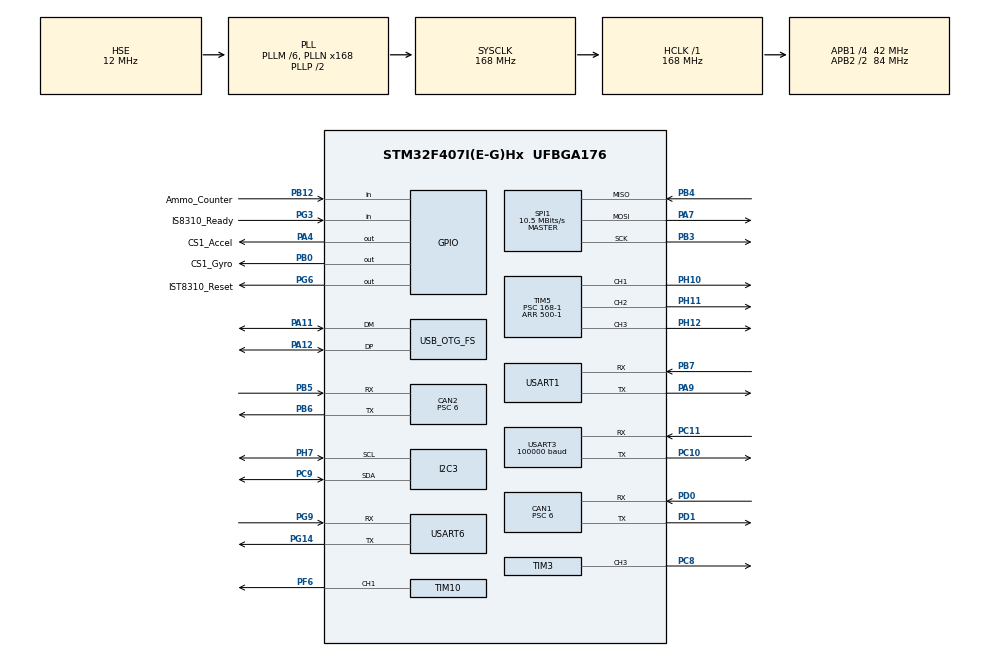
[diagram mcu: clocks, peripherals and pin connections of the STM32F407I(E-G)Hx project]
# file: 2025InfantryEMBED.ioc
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CAN1.ABOM=ENABLE
CAN1.BS1=CAN_BS1_4TQ
CAN1.BS2=CAN_BS2_2TQ
CAN1.CalculateBaudRate=1000000
CAN1.CalculateTimeBit=1000
CAN1.CalculateTimeQuantum=142.85714285714286
CAN1.Prescaler=6
CAN2.ABOM=ENABLE
CAN2.BS1=CAN_BS1_4TQ
CAN2.BS2=CAN_BS2_2TQ
CAN2.CalculateBaudRate=1000000
CAN2.CalculateTimeBit=1000
CAN2.CalculateTimeQuantum=142.85714285714286
CAN2.Prescaler=6
Dma.Request0=USART3_RX
Dma.Request1=USART1_RX
Dma.Request2=USART6_RX
Dma.Request3=USART6_TX
Dma.USART1_RX.1.Direction=DMA_PERIPH_TO_MEMORY
Dma.USART1_RX.1.FIFOMode=DMA_FIFOMODE_DISABLE
Dma.USART1_RX.1.Instance=DMA2_Stream2
Dma.USART1_RX.1.MemDataAlignment=DMA_MDATAALIGN_BYTE
Dma.USART1_RX.1.MemInc=DMA_MINC_ENABLE
Dma.USART1_RX.1.Mode=DMA_CIRCULAR
Dma.USART1_RX.1.PeriphDataAlignment=DMA_PDATAALIGN_BYTE
Dma.USART1_RX.1.PeriphInc=DMA_PINC_DISABLE
Dma.USART1_RX.1.Priority=DMA_PRIORITY_VERY_HIGH
Dma.USART3_RX.0.Direction=DMA_PERIPH_TO_MEMORY
Dma.USART3_RX.0.FIFOMode=DMA_FIFOMODE_DISABLE
Dma.USART3_RX.0.Instance=DMA1_Stream1
Dma.USART3_RX.0.MemDataAlignment=DMA_MDATAALIGN_BYTE
Dma.USART3_RX.0.MemInc=DMA_MINC_ENABLE
Dma.USART3_RX.0.Mode=DMA_NORMAL
Dma.USART3_RX.0.PeriphDataAlignment=DMA_PDATAALIGN_BYTE
Dma.USART3_RX.0.PeriphInc=DMA_PINC_DISABLE
Dma.USART3_RX.0.Priority=DMA_PRIORITY_VERY_HIGH
Dma.USART6_RX.2.Direction=DMA_PERIPH_TO_MEMORY
Dma.USART6_RX.2.FIFOMode=DMA_FIFOMODE_DISABLE
Dma.USART6_RX.2.Instance=DMA2_Stream1
Dma.USART6_RX.2.MemDataAlignment=DMA_MDATAALIGN_BYTE
Dma.USART6_RX.2.MemInc=DMA_MINC_ENABLE
Dma.USART6_RX.2.Mode=DMA_CIRCULAR
Dma.USART6_RX.2.PeriphDataAlignment=DMA_PDATAALIGN_BYTE
Dma.USART6_RX.2.PeriphInc=DMA_PINC_DISABLE
Dma.USART6_RX.2.Priority=DMA_PRIORITY_VERY_HIGH
Dma.USART6_TX.3.Direction=DMA_MEMORY_TO_PERIPH
Dma.USART6_TX.3.FIFOMode=DMA_FIFOMODE_DISABLE
Dma.USART6_TX.3.Instance=DMA2_Stream6
Dma.USART6_TX.3.MemDataAlignment=DMA_MDATAALIGN_BYTE
Dma.USART6_TX.3.MemInc=DMA_MINC_ENABLE
Dma.USART6_TX.3.Mode=DMA_NORMAL
Dma.USART6_TX.3.PeriphDataAlignment=DMA_PDATAALIGN_BYTE
Dma.USART6_TX.3.PeriphInc=DMA_PINC_DISABLE
Dma.USART6_TX.3.Priority=DMA_PRIORITY_MEDIUM
FREERTOS.Tasks01=defaultTask,24,128,StartDefaultTask,Default,NULL,Dynamic,NULL,NULL
I2C3.I2C_Mode=I2C_Fast
Mcu.Family=STM32F4
Mcu.Name=STM32F407I(E-G)Hx
Mcu.Package=UFBGA176
NVIC.CAN1_RX0_IRQn=true\:5\:0\:false\:false\:true\:true\:true\:true\:true
NVIC.CAN1_RX1_IRQn=true\:5\:0\:false\:false\:true\:true\:true\:true\:true
NVIC.CAN1_SCE_IRQn=true\:5\:0\:false\:false\:true\:true\:true\:true\:true
NVIC.CAN1_TX_IRQn=true\:5\:0\:true\:false\:true\:true\:true\:true\:true
NVIC.CAN2_RX0_IRQn=true\:5\:0\:false\:false\:true\:true\:true\:true\:true
NVIC.CAN2_RX1_IRQn=true\:5\:0\:false\:false\:true\:true\:true\:true\:true
NVIC.CAN2_SCE_IRQn=true\:5\:0\:false\:false\:true\:true\:true\:true\:true
NVIC.CAN2_TX_IRQn=true\:5\:0\:false\:false\:true\:true\:true\:true\:true
NVIC.DMA1_Stream1_IRQn=true\:5\:0\:false\:false\:true\:true\:false\:true\:true
NVIC.DMA2_Stream1_IRQn=true\:5\:0\:false\:false\:true\:true\:false\:true\:true
NVIC.DMA2_Stream2_IRQn=true\:5\:0\:false\:false\:true\:true\:false\:true\:true
NVIC.DMA2_Stream6_IRQn=true\:5\:0\:false\:false\:true\:true\:false\:true\:true
NVIC.FLASH_IRQn=true\:5\:0\:false\:false\:true\:true\:true\:true\:true
NVIC.OTG_FS_IRQn=true\:6\:0\:true\:false\:true\:true\:false\:true\:true
NVIC.PriorityGroup=NVIC_PRIORITYGROUP_4
NVIC.RCC_IRQn=true\:5\:0\:false\:false\:true\:true\:true\:false\:true
NVIC.SPI1_IRQn=true\:6\:0\:true\:false\:true\:true\:true\:true\:true
NVIC.TIM5_IRQn=true\:5\:0\:false\:false\:true\:true\:true\:true\:true
NVIC.TIM6_DAC_IRQn=true\:15\:0\:false\:false\:true\:false\:false\:true\:true
NVIC.TimeBase=TIM6_DAC_IRQn
NVIC.TimeBaseIP=TIM6
NVIC.USART1_IRQn=true\:6\:0\:true\:false\:true\:true\:true\:true\:true
NVIC.USART3_IRQn=true\:6\:0\:true\:true\:true\:1\:true\:true\:true\:true
NVIC.USART6_IRQn=true\:7\:0\:true\:false\:true\:true\:true\:true\:true
PA11.Mode=Device_Only
PA11.Signal=USB_OTG_FS_DM
PA12.Mode=Device_Only
PA12.Signal=USB_OTG_FS_DP
PA13.Mode=Serial_Wire
PA13.Signal=SYS_JTMS-SWDIO
PA14.Mode=Serial_Wire
PA14.Signal=SYS_JTCK-SWCLK
PA4.GPIO_Label=CS1_Accel
PA4.GPIO_PuPd=GPIO_PULLUP
PA4.GPIO_Speed=GPIO_SPEED_FREQ_VERY_HIGH
PA4.Signal=GPIO_Output
PA7.Mode=Full_Duplex_Master
PA7.Signal=SPI1_MOSI
PA9.Mode=Asynchronous
PA9.Signal=USART1_TX
PB0.GPIO_Label=CS1_Gyro
PB0.GPIO_PuPd=GPIO_PULLUP
PB0.GPIO_Speed=GPIO_SPEED_FREQ_VERY_HIGH
PB0.Signal=GPIO_Output
PB12.GPIO_Label=Ammo_Counter
PB12.GPIO_PuPd=GPIO_PULLUP
PB12.Signal=GPIO_Input
PB3.Mode=Full_Duplex_Master
PB3.Signal=SPI1_SCK
PB4.Mode=Full_Duplex_Master
PB4.Signal=SPI1_MISO
PB5.Mode=CAN_Activate
PB5.Signal=CAN2_RX
PB6.Mode=CAN_Activate
PB6.Signal=CAN2_TX
PB7.Mode=Asynchronous
PB7.Signal=USART1_RX
PC10.GPIO_PuPd=GPIO_NOPULL
PC10.Mode=Asynchronous
PC10.Signal=USART3_TX
PC11.GPIO_PuPd=GPIO_NOPULL
PC11.Mode=Asynchronous
PC11.Signal=USART3_RX
PC8.Signal=S_TIM3_CH3
PC9.Mode=I2C
PC9.Signal=I2C3_SDA
PD0.Mode=CAN_Activate
PD0.Signal=CAN1_RX
PD1.Mode=CAN_Activate
PD1.Signal=CAN1_TX
PE9.GPIO_Speed=GPIO_SPEED_FREQ_HIGH
PE9.Signal=S_TIM1_CH1
PF6.Signal=S_TIM10_CH1
PG14.Mode=Asynchronous
PG14.Signal=USART6_TX
PG3.GPIO_Label=IS8310_Ready
PG3.Signal=GPIO_Input
PG6.GPIO_Label=IST8310_Reset
PG6.GPIO_PuPd=GPIO_PULLUP
PG6.PinState=GPIO_PIN_SET
PG6.Signal=GPIO_Output
PG9.Mode=Asynchronous
PG9.Signal=USART6_RX
PH0-OSC_IN.Mode=HSE-External-Oscillator
PH0-OSC_IN.Signal=RCC_OSC_IN
PH1-OSC_OUT.Mode=HSE-External-Oscillator
PH1-OSC_OUT.Signal=RCC_OSC_OUT
PH10.Signal=S_TIM5_CH1
PH11.Signal=S_TIM5_CH2
PH12.Signal=S_TIM5_CH3
PH7.Mode=I2C
PH7.Signal=I2C3_SCL
ProjectManager.HeapSize=0x200
ProjectManager.StackSize=0x400
ProjectManager.TargetToolchain=STM32CubeIDE
RCC.48MHZClocksFreq_Value=48000000
RCC.AHBFreq_Value=168000000
RCC.APB1CLKDivider=RCC_HCLK_DIV4
RCC.APB1Freq_Value=42000000
RCC.APB1TimFreq_Value=84000000
RCC.APB2CLKDivider=RCC_HCLK_DIV2
RCC.APB2Freq_Value=84000000
RCC.APB2TimFreq_Value=168000000
RCC.CortexFreq_Value=168000000
RCC.HCLKFreq_Value=168000000
RCC.HSE_VALUE=12000000
RCC.HSI_VALUE=16000000
RCC.LSE_VALUE=32768
RCC.PLLM=6
RCC.PLLN=168
RCC.PLLQ=7
RCC.SYSCLKFreq_VALUE=168000000
RCC.SYSCLKSource=RCC_SYSCLKSOURCE_PLLCLK
RCC.VCOOutputFreq_Value=336000000
SH.S_TIM10_CH1.0=TIM10_CH1,PWM Generation1 CH1
SH.S_TIM1_CH1.0=TIM1_CH1
SH.S_TIM3_CH3.0=TIM3_CH3,PWM Generation3 CH3
SH.S_TIM5_CH1.0=TIM5_CH1,PWM Generation1 CH1
SH.S_TIM5_CH2.0=TIM5_CH2,PWM Generation2 CH2
SH.S_TIM5_CH3.0=TIM5_CH3,PWM Generation3 CH3
SPI1.BaudRatePrescaler=SPI_BAUDRATEPRESCALER_8
SPI1.CLKPhase=SPI_PHASE_2EDGE
SPI1.CLKPolarity=SPI_POLARITY_HIGH
SPI1.CalculateBaudRate=10.5 MBits/s
SPI1.Direction=SPI_DIRECTION_2LINES
SPI1.Mode=SPI_MODE_MASTER
SPI1.VirtualType=VM_MASTER
STMicroelectronics.X-CUBE-ALGOBUILD.1.4.0.LibraryCcDSPOoLibraryJjDSPOoLibrary=true
TIM10.Channel=TIM_CHANNEL_1
TIM10.Period=5000-1
TIM3.Channel-PWM\ Generation3\ CH3=TIM_CHANNEL_3
TIM3.Prescaler=168-1
TIM5.AutoReloadPreload=TIM_AUTORELOAD_PRELOAD_DISABLE
TIM5.Channel-PWM\ Generation1\ CH1=TIM_CHANNEL_1
TIM5.Channel-PWM\ Generation2\ CH2=TIM_CHANNEL_2
TIM5.Channel-PWM\ Generation3\ CH3=TIM_CHANNEL_3
TIM5.Period=500-1
TIM5.Prescaler=168-1
USART1.VirtualMode=VM_ASYNC
USART3.BaudRate=100000
USART3.Mode=MODE_RX
USART3.Parity=PARITY_EVEN
USART3.VirtualMode=VM_ASYNC
USART3.WordLength=WORDLENGTH_9B
USART6.VirtualMode=VM_ASYNC
USB_DEVICE.CLASS_NAME_FS=CDC
USB_DEVICE.VirtualMode-CDC_FS=Cdc
USB_DEVICE.VirtualModeFS=Cdc_FS
USB_OTG_FS.VirtualMode=Device_Only
VP_FREERTOS_VS_CMSIS_V2.Mode=CMSIS_V2
VP_STMicroelectronics.X-CUBE-ALGOBUILD_VS_DSPOoLibraryJjLibrary_1.4.0_1.4.0.Mode=DSPOoLibraryJjLibrary
VP_SYS_VS_tim6.Mode=TIM6
VP_TIM10_VS_ClockSourceINT.Mode=Enable_Timer
VP_TIM3_VS_ClockSourceINT.Mode=Internal
VP_TIM5_VS_ClockSourceINT.Mode=Internal
VP_USB_DEVICE_VS_USB_DEVICE_CDC_FS.Mode=CDC_FS
board=custom

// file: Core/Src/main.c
/* USER CODE BEGIN Header */
/**
 ******************************************************************************
 * @file           : main.c
 * @brief          : Main program body
 ******************************************************************************
 * @attention
 *
 * Copyright (c) 2023 STMicroelectronics.
 * All rights reserved.
 *
 * This software is licensed under terms that can be found in the LICENSE file
 * in the root directory of this software component.
 * If no LICENSE file comes with this software, it is provided AS-IS.
 *
 ******************************************************************************
 */
/* USER CODE END Header */
#include "main.h"
#include "cmsis_os.h"
#include "can.h"
#include "dma.h"
#include "i2c.h"
#include "spi.h"
#include "tim.h"
#include "usart.h"
#include "usb_device.h"
#include "gpio.h"

/* USER CODE BEGIN Includes */

#include "imu.h"
#include "referee.h"
#include "remote.h"
#include "motor.h"
#include "SuperCap.h"
#include "CanInst.h"
#include "ui.h"

/* USER CODE END Includes */

void SystemClock_Config(void);
void MX_FREERTOS_Init(void);
static void MX_NVIC_Init(void);
/* USER CODE BEGIN PFP */
void Can_Filter1Config(void);

void HAL_TIM_PeriodElapsedCallback(TIM_HandleTypeDef *htim);

extern void ControlInit();

extern void GimbalInit(void);

extern void CANBusInit(void);

extern void ChassisInit(void);

extern void CanInit(void);
extern void MotorInit(void);

/* USER CODE END PFP */

int main(void)
{

  /* MCU Configuration--------------------------------------------------------*/

  /* Reset of all peripherals, Initializes the Flash interface and the Systick. */

	HAL_Init();

  /* Configure the system clock */
  SystemClock_Config();

  /* Initialize all configured peripherals */
  MX_GPIO_Init();
  MX_DMA_Init();
  MX_USART1_UART_Init();
  MX_CAN1_Init();
  MX_TIM5_Init();
  MX_SPI1_Init();
  MX_USART3_UART_Init();
  MX_I2C3_Init();
  MX_USART6_UART_Init();
  MX_TIM3_Init();
  MX_CAN2_Init();
  MX_TIM10_Init();

  /* Initialize interrupts */
  MX_NVIC_Init();
  /* USER CODE BEGIN 2 */

  /* 此段只能放在main.c里，否则cna2无法读取回调信息 */
  HAL_CAN_ActivateNotification(&hcan1, CAN_IT_RX_FIFO0_MSG_PENDING);
  HAL_CAN_Start(&hcan1);
  //CAN2
  HAL_CAN_ActivateNotification(&hcan2, CAN_IT_RX_FIFO0_MSG_PENDING);
  HAL_CAN_Start(&hcan2);

  /* 模块初始�???? */
  MotorInit();	// pid参数等各项初始化
  SuperCapInit(); // 超级电容初始�????
  CanInit();
  RemoteInit();
  RefereeInit();
  /* 任务初始�???? */

  IMUTask_Init();
  ControlInit();
  CANBusInit();
  GimbalInit();
  ChassisInit();
  UI_Init();

  /* USER CODE END 2 */

  /* Init scheduler */
  osKernelInitialize();

  /* Call init function for freertos objects (in cmsis_os2.c) */
  MX_FREERTOS_Init();

  /* Start scheduler */
  osKernelStart();

  /* We should never get here as control is now taken by the scheduler */

  /* Infinite loop */
  while (1)
  {

  }
}

void SystemClock_Config(void)
{
  RCC_OscInitTypeDef RCC_OscInitStruct = {0};
  RCC_ClkInitTypeDef RCC_ClkInitStruct = {0};

  /** Configure the main internal regulator output voltage
  */
  __HAL_RCC_PWR_CLK_ENABLE();
  __HAL_PWR_VOLTAGESCALING_CONFIG(PWR_REGULATOR_VOLTAGE_SCALE1);

  /** Initializes the RCC Oscillators according to the specified parameters
  * in the RCC_OscInitTypeDef structure.
  */
  RCC_OscInitStruct.OscillatorType = RCC_OSCILLATORTYPE_HSE;
  RCC_OscInitStruct.HSEState = RCC_HSE_ON;
  RCC_OscInitStruct.PLL.PLLState = RCC_PLL_ON;
  RCC_OscInitStruct.PLL.PLLSource = RCC_PLLSOURCE_HSE;
  RCC_OscInitStruct.PLL.PLLM = 6;
  RCC_OscInitStruct.PLL.PLLN = 168;
  RCC_OscInitStruct.PLL.PLLP = RCC_PLLP_DIV2;
  RCC_OscInitStruct.PLL.PLLQ = 7;
  if (HAL_RCC_OscConfig(&RCC_OscInitStruct) != HAL_OK)
  {
    Error_Handler();
  }

  /** Initializes the CPU, AHB and APB buses clocks
  */
  RCC_ClkInitStruct.ClockType = RCC_CLOCKTYPE_HCLK|RCC_CLOCKTYPE_SYSCLK
                              |RCC_CLOCKTYPE_PCLK1|RCC_CLOCKTYPE_PCLK2;
  RCC_ClkInitStruct.SYSCLKSource = RCC_SYSCLKSOURCE_PLLCLK;
  RCC_ClkInitStruct.AHBCLKDivider = RCC_SYSCLK_DIV1;
  RCC_ClkInitStruct.APB1CLKDivider = RCC_HCLK_DIV4;
  RCC_ClkInitStruct.APB2CLKDivider = RCC_HCLK_DIV2;

  if (HAL_RCC_ClockConfig(&RCC_ClkInitStruct, FLASH_LATENCY_5) != HAL_OK)
  {
    Error_Handler();
  }
}

/**
  * @brief NVIC Configuration.
  * @retval None
  */
static void MX_NVIC_Init(void)
{
  /* USART3_IRQn interrupt configuration */
  HAL_NVIC_SetPriority(USART3_IRQn, 6, 0);
  HAL_NVIC_EnableIRQ(USART3_IRQn);
}

/* USER CODE BEGIN 4 */

void PWM_INIT()
{
  HAL_TIM_Base_Start(&htim3);
  HAL_TIM_PWM_Start(&htim3, TIM_CHANNEL_3);
}
/* USER CODE END 4 */

void HAL_TIM_PeriodElapsedCallback(TIM_HandleTypeDef *htim)
{
  /* USER CODE BEGIN Callback 0 */
  if (htim->Instance == TIM5)
  {
  }
  /* USER CODE END Callback 0 */
  if (htim->Instance == TIM6) {
    HAL_IncTick();
  }
}

void Error_Handler(void)
{
  __disable_irq();
  while (1)
  {
  }
}

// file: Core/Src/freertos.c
/* USER CODE BEGIN Header */
/**
  ******************************************************************************
  * File Name          : freertos.c
  * Description        : Code for freertos applications
  ******************************************************************************
  * @attention
  *
  * Copyright (c) 2024 STMicroelectronics.
  * All rights reserved.
  *
  * This software is licensed under terms that can be found in the LICENSE file
  * in the root directory of this software component.
  * If no LICENSE file comes with this software, it is provided AS-IS.
  *
  ******************************************************************************
  */
/* USER CODE END Header */

#include "FreeRTOS.h"
#include "task.h"
#include "main.h"
#include "cmsis_os.h"

/* Definitions for defaultTask */
osThreadId_t defaultTaskHandle;
const osThreadAttr_t defaultTask_attributes = {
  .name = "defaultTask",
  .stack_size = 128 * 4,
  .priority = (osPriority_t) osPriorityNormal,
};

void StartDefaultTask(void *argument);

extern void MX_USB_DEVICE_Init(void);
void MX_FREERTOS_Init(void); /* (MISRA C 2004 rule 8.1) */

void MX_FREERTOS_Init(void) {

  /* Create the thread(s) */
  /* creation of defaultTask */
  defaultTaskHandle = osThreadNew(StartDefaultTask, NULL, &defaultTask_attributes);

}

void StartDefaultTask(void *argument)
{
  /* init code for USB_DEVICE */
  MX_USB_DEVICE_Init();
  /* USER CODE BEGIN StartDefaultTask */
  /* Infinite loop */
  for(;;)
  {
//      HAL_GPIO_TogglePin(LED_G_GPIO_Port, LED_G_Pin);
      osDelay(200);
  }
  /* USER CODE END StartDefaultTask */
}
